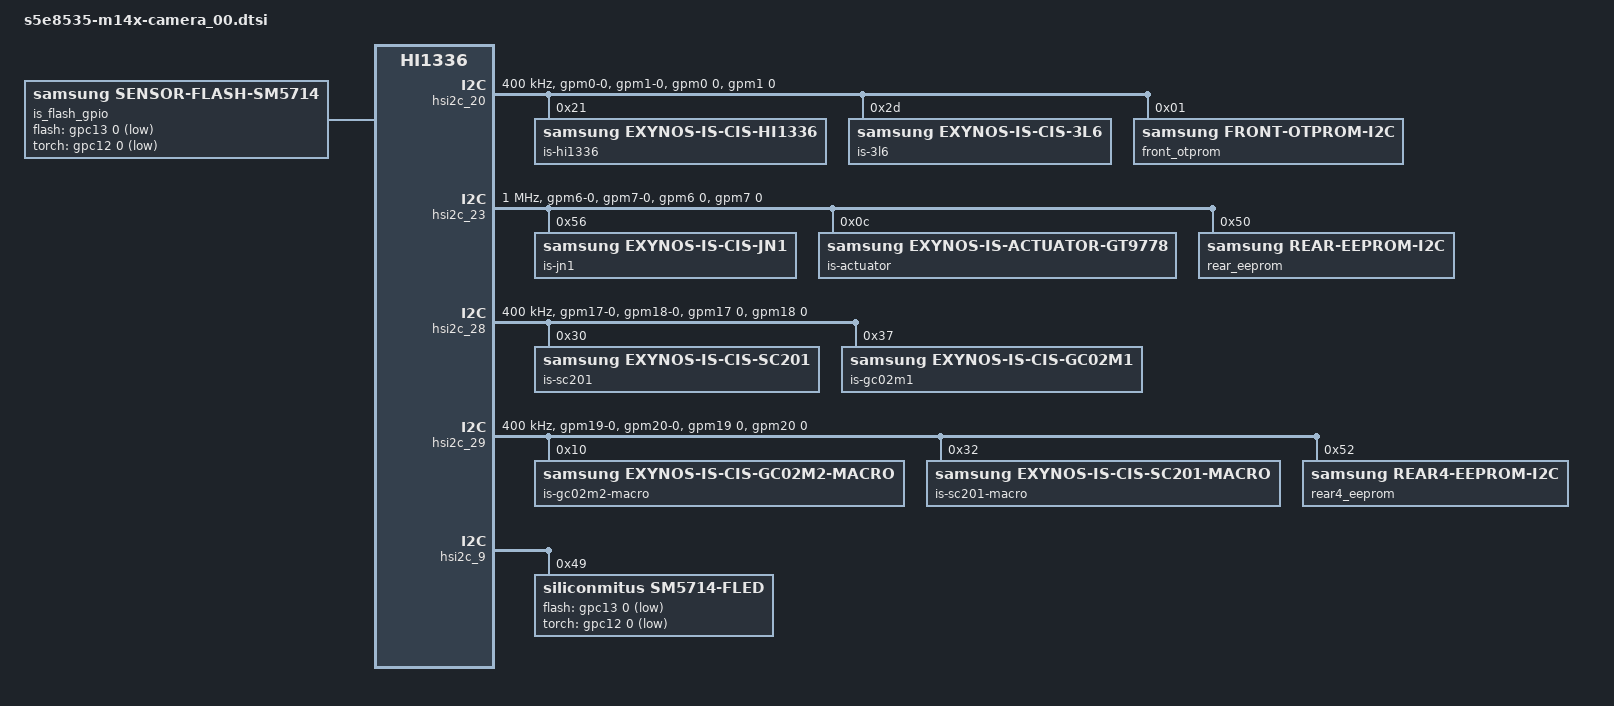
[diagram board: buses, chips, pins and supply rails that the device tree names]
/*
 * Samsung Exynos SoC series Pablo driver
 *
 * Copyright (c) 2022 Samsung Electronics Co., Ltd
 *
 * This program is free software; you can redistribute it and/or modify
 * it under the terms of the GNU General Public License version 2 as
 * published by the Free Software Foundation.
 */

#include <dt-bindings/camera/exynos_is_dt.h>

#include "module_jn1.dtsi"
#include "module_hi1336.dtsi"
#include "module_3l6.dtsi"
#include "module_sc201.dtsi"
#include "module_gc02m1.dtsi"
#include "module_gc02m2.dtsi"

/ {
	fragment@camera {
		target-path = "/";
		__overlay__ {
			#address-cells = <2>;
			#size-cells = <1>;
			interrupt-parent = <&gic>;

			is_sensor_jn1: is_sensor_jn1@2D {

				flash {
					product_name = <20>; /* SM5714 */
				};

				power_seq {
					scenario_normal_on {
						20 { pname = "CAM_VDDIO_1P8_EN"; pin = <PIN_OUTPUT 1 1000>; gpio = <&gpp0 7 0x1>; share = <SRT_ACQUIRE SHARED_PIN1 1>; };
						30 { pname = "vdd_ldo31"; pin = <PIN_REGULATOR 1 500 1050000>; share = <SRT_ACQUIRE SHARED_PIN8 1>; }; 
						45 { pname = "COMMON_AVDD_2P8"; pin = <PIN_OUTPUT 1 1000>; gpio = <&gpp1 2 0x1>; share = <SRT_ACQUIRE SHARED_PIN3 1>; };
					};

					scenario_normal_off {
						80 { pname = "COMMON_AVDD_2P8"; pin = <PIN_OUTPUT 0 1000>; gpio = <&gpp1 2 0x1>; share = <SRT_RELEASE SHARED_PIN3 0>; };
						90 { pname = "vdd_ldo31"; pin = <PIN_REGULATOR 0 0>; share = <SRT_RELEASE SHARED_PIN8 0>; };
						100 { pname = "CAM_VDDIO_1P8_EN"; pin = <PIN_OUTPUT 0 1000>; gpio = <&gpp0 7 0x1>; share = <SRT_RELEASE SHARED_PIN1 0>; };
					};

					scenario_vision_on {
						20 { pname = "CAM_VDDIO_1P8_EN"; pin = <PIN_OUTPUT 1 1000>; gpio = <&gpp0 7 0x1>; share = <SRT_ACQUIRE SHARED_PIN1 1>; };
						30 { pname = "vdd_ldo31"; pin = <PIN_REGULATOR 1 500 1050000>; share = <SRT_ACQUIRE SHARED_PIN8 1>; }; 
						45 { pname = "COMMON_AVDD_2P8"; pin = <PIN_OUTPUT 1 1000>; gpio = <&gpp1 2 0x1>; share = <SRT_ACQUIRE SHARED_PIN3 1>; };
					};

					scenario_vision_off {
						80 { pname = "COMMON_AVDD_2P8"; pin = <PIN_OUTPUT 0 1000>; gpio = <&gpp1 2 0x1>; share = <SRT_RELEASE SHARED_PIN3 0>; };
						90 { pname = "vdd_ldo31"; pin = <PIN_REGULATOR 0 0>; share = <SRT_RELEASE SHARED_PIN8 0>; };
						100 { pname = "CAM_VDDIO_1P8_EN"; pin = <PIN_OUTPUT 0 1000>; gpio = <&gpp0 7 0x1>; share = <SRT_RELEASE SHARED_PIN1 0>; };
					};

					scenario_read_rom_on {
						10 { pname = "CAM_VDDIO_1P8_EN"; pin = <PIN_OUTPUT 1 1000>; gpio = <&gpp0 7 0x1>; share = <SRT_ACQUIRE SHARED_PIN1 1>; };
					};

					scenario_read_rom_off {
						30 { pname = "CAM_VDDIO_1P8_EN"; pin = <PIN_OUTPUT 0 1000>; gpio = <&gpp0 7 0x1>; share = <SRT_RELEASE SHARED_PIN1 0>; };
					};
				};
			};

			/* Front */
			is_sensor_hi1336: is_sensor_hi1336@42 {
				power_seq {
					scenario_normal_on {
						20 { pname = "CAM_VDDIO_1P8_EN"; pin = <PIN_OUTPUT 1 1000>; gpio = <&gpp0 7 0x1>; share = <SRT_ACQUIRE SHARED_PIN1 1>; };
						25 { pname = "vdd_ldo31"; pin = <PIN_REGULATOR 1 500 1050000>; share = <SRT_ACQUIRE SHARED_PIN8 1>; }; 
						40 { pname = "COMMON_AVDD_2P8"; pin = <PIN_OUTPUT 1 100>; gpio = <&gpp1 2 0x1>; share = <SRT_ACQUIRE SHARED_PIN3 1>; };
					};

					scenario_normal_off {
						70 { pname = "COMMON_AVDD_2P8"; pin = <PIN_OUTPUT 0 100>; gpio = <&gpp1 2 0x1>; share = <SRT_RELEASE SHARED_PIN3 0>; };
						85 { pname = "vdd_ldo31"; pin = <PIN_REGULATOR 0 0>; share = <SRT_RELEASE SHARED_PIN8 0>; };
						90 { pname = "CAM_VDDIO_1P8_EN"; pin = <PIN_OUTPUT 0 1000>; gpio = <&gpp0 7 0x1>; share = <SRT_RELEASE SHARED_PIN1 0>; };
					};

					scenario_vision_on {
						20 { pname = "CAM_VDDIO_1P8_EN"; pin = <PIN_OUTPUT 1 1000>; gpio = <&gpp0 7 0x1>; share = <SRT_ACQUIRE SHARED_PIN1 1>; };
						25 { pname = "vdd_ldo31"; pin = <PIN_REGULATOR 1 500 1050000>; share = <SRT_ACQUIRE SHARED_PIN8 1>; }; 
						40 { pname = "COMMON_AVDD_2P8"; pin = <PIN_OUTPUT 1 100>; gpio = <&gpp1 2 0x1>; share = <SRT_ACQUIRE SHARED_PIN3 1>; };
					};

					scenario_vision_off {
						70 { pname = "COMMON_AVDD_2P8"; pin = <PIN_OUTPUT 0 100>; gpio = <&gpp1 2 0x1>; share = <SRT_RELEASE SHARED_PIN3 0>; };
						85 { pname = "vdd_ldo31"; pin = <PIN_REGULATOR 0 0>; share = <SRT_RELEASE SHARED_PIN8 0>; };
						90 { pname = "CAM_VDDIO_1P8_EN"; pin = <PIN_OUTPUT 0 1000>; gpio = <&gpp0 7 0x1>; share = <SRT_RELEASE SHARED_PIN1 0>; };
					};

					scenario_read_rom_on {
						20 { pname = "CAM_VDDIO_1P8_EN"; pin = <PIN_OUTPUT 1 1000>; gpio = <&gpp0 7 0x1>; share = <SRT_ACQUIRE SHARED_PIN1 1>; };
						25 { pname = "vdd_ldo31"; pin = <PIN_REGULATOR 1 500 1050000>; share = <SRT_ACQUIRE SHARED_PIN8 1>; }; 
						40 { pname = "COMMON_AVDD_2P8"; pin = <PIN_OUTPUT 1 100>; gpio = <&gpp1 2 0x1>; share = <SRT_ACQUIRE SHARED_PIN3 1>; };
					};

					scenario_read_rom_off {
						70 { pname = "COMMON_AVDD_2P8"; pin = <PIN_OUTPUT 0 100>; gpio = <&gpp1 2 0x1>; share = <SRT_RELEASE SHARED_PIN3 0>; };
						85 { pname = "vdd_ldo31"; pin = <PIN_REGULATOR 0 0>; share = <SRT_RELEASE SHARED_PIN8 0>; };
						90 { pname = "CAM_VDDIO_1P8_EN"; pin = <PIN_OUTPUT 0 1000>; gpio = <&gpp0 7 0x1>; share = <SRT_RELEASE SHARED_PIN1 0>; };
					};
				};
			};

			/* Front Dualized */
			is_sensor_3l6: is_sensor_3l6@5A {
				power_seq {
					scenario_normal_on {
						20 { pname = "CAM_VDDIO_1P8_EN"; pin = <PIN_OUTPUT 1 1000>; gpio = <&gpp0 7 0x1>; share = <SRT_ACQUIRE SHARED_PIN1 1>; };
						25 { pname = "vdd_ldo31"; pin = <PIN_REGULATOR 1 500 1050000>; share = <SRT_ACQUIRE SHARED_PIN8 1>; }; 
						40 { pname = "COMMON_AVDD_2P8"; pin = <PIN_OUTPUT 1 1000>; gpio = <&gpp1 2 0x1>; share = <SRT_ACQUIRE SHARED_PIN3 1>; };
					};

					scenario_normal_off {
						30 { pname = "COMMON_AVDD_2P8"; pin = <PIN_OUTPUT 0 1000>; gpio = <&gpp1 2 0x1>; share = <SRT_RELEASE SHARED_PIN3 0>; };
						45 { pname = "vdd_ldo31"; pin = <PIN_REGULATOR 0 0>; share = <SRT_RELEASE SHARED_PIN8 0>; };
						50 { pname = "CAM_VDDIO_1P8_EN"; pin = <PIN_OUTPUT 0 1000>; gpio = <&gpp0 7 0x1>; share = <SRT_RELEASE SHARED_PIN1 0>; };
					};

					scenario_vision_on {
						20 { pname = "CAM_VDDIO_1P8_EN"; pin = <PIN_OUTPUT 1 1000>; gpio = <&gpp0 7 0x1>; share = <SRT_ACQUIRE SHARED_PIN1 1>; };
						25 { pname = "vdd_ldo31"; pin = <PIN_REGULATOR 1 500 1050000>; share = <SRT_ACQUIRE SHARED_PIN8 1>; }; 
						40 { pname = "COMMON_AVDD_2P8"; pin = <PIN_OUTPUT 1 1000>; gpio = <&gpp1 2 0x1>; share = <SRT_ACQUIRE SHARED_PIN3 1>; };
					};

					scenario_vision_off {
						30 { pname = "COMMON_AVDD_2P8"; pin = <PIN_OUTPUT 0 1000>; gpio = <&gpp1 2 0x1>; share = <SRT_RELEASE SHARED_PIN3 0>; };
						45 { pname = "vdd_ldo31"; pin = <PIN_REGULATOR 0 0>; share = <SRT_RELEASE SHARED_PIN8 0>; };
						50 { pname = "CAM_VDDIO_1P8_EN"; pin = <PIN_OUTPUT 0 1000>; gpio = <&gpp0 7 0x1>; share = <SRT_RELEASE SHARED_PIN1 0>; };
					};

					scenario_read_rom_on {
						20 { pname = "CAM_VDDIO_1P8_EN"; pin = <PIN_OUTPUT 1 1000>; gpio = <&gpp0 7 0x1>; share = <SRT_ACQUIRE SHARED_PIN1 1>; };
						25 { pname = "vdd_ldo31"; pin = <PIN_REGULATOR 1 500 1050000>; share = <SRT_ACQUIRE SHARED_PIN8 1>; }; 
						40 { pname = "COMMON_AVDD_2P8"; pin = <PIN_OUTPUT 1 1000>; gpio = <&gpp1 2 0x1>; share = <SRT_ACQUIRE SHARED_PIN3 1>; };
					};

					scenario_read_rom_off {
						30 { pname = "COMMON_AVDD_2P8"; pin = <PIN_OUTPUT 0 1000>; gpio = <&gpp1 2 0x1>; share = <SRT_RELEASE SHARED_PIN3 0>; };
						45 { pname = "vdd_ldo31"; pin = <PIN_REGULATOR 0 0>; share = <SRT_RELEASE SHARED_PIN8 0>; };
						50 { pname = "CAM_VDDIO_1P8_EN"; pin = <PIN_OUTPUT 0 1000>; gpio = <&gpp0 7 0x1>; share = <SRT_RELEASE SHARED_PIN1 0>; };
					};
				};
			};

			/* Bokeh */
			is_sensor_sc201: is_sensor_sc201@60 {
				power_seq {
					scenario_normal_on {
						20 { pname = "CAM_VDDIO_1P8_EN"; pin = <PIN_OUTPUT 1 2000>; gpio = <&gpp0 7 0x1>; share = <SRT_ACQUIRE SHARED_PIN1 1>; };
						25 { pname = "vdd_ldo31"; pin = <PIN_REGULATOR 1 500 1050000>; share = <SRT_ACQUIRE SHARED_PIN8 1>; }; 
						30 { pname = "COMMON_AVDD_2P8"; pin = <PIN_OUTPUT 1 1000>; gpio = <&gpp1 2 0x1>; share = <SRT_ACQUIRE SHARED_PIN3 1>; };
						60 { pname = "MCLK"; pin = <PIN_MCLK 1 12000>; gpio = <&gpg0 3 0x1>; share = <SRT_ACQUIRE SHARED_PIN2 1>; };
					};

					scenario_normal_off {
						20 { pname = "MCLK"; pin = <PIN_MCLK 0 0>; gpio = <&gpg0 3 0x1>; share = <SRT_RELEASE SHARED_PIN2 0>; };
						40 { pname = "COMMON_AVDD_2P8"; pin = <PIN_OUTPUT 0 1000>; gpio = <&gpp1 2 0x1>; share = <SRT_RELEASE SHARED_PIN3 0>; };
						45 { pname = "vdd_ldo31"; pin = <PIN_REGULATOR 0 0>; share = <SRT_RELEASE SHARED_PIN8 0>; };
						50 { pname = "CAM_VDDIO_1P8_EN"; pin = <PIN_OUTPUT 0 0>; gpio = <&gpp0 7 0x1>; share = <SRT_RELEASE SHARED_PIN1 0>; };
					};

					scenario_vision_on {
						20 { pname = "CAM_VDDIO_1P8_EN"; pin = <PIN_OUTPUT 1 2000>; gpio = <&gpp0 7 0x1>; share = <SRT_ACQUIRE SHARED_PIN1 1>; };
						25 { pname = "vdd_ldo31"; pin = <PIN_REGULATOR 1 500 1050000>; share = <SRT_ACQUIRE SHARED_PIN8 1>; }; 
						30 { pname = "COMMON_AVDD_2P8"; pin = <PIN_OUTPUT 1 1000>; gpio = <&gpp1 2 0x1>; share = <SRT_ACQUIRE SHARED_PIN3 1>; };
						60 { pname = "MCLK"; pin = <PIN_MCLK 1 12000>; gpio = <&gpg0 3 0x1>; share = <SRT_ACQUIRE SHARED_PIN2 1>; };
					};

					scenario_vision_off {
						20 { pname = "MCLK"; pin = <PIN_MCLK 0 0>; gpio = <&gpg0 3 0x1>; share = <SRT_RELEASE SHARED_PIN2 0>; };
						40 { pname = "COMMON_AVDD_2P8"; pin = <PIN_OUTPUT 0 1000>; gpio = <&gpp1 2 0x1>; share = <SRT_RELEASE SHARED_PIN3 0>; };
						45 { pname = "vdd_ldo31"; pin = <PIN_REGULATOR 0 0>; share = <SRT_RELEASE SHARED_PIN8 0>; };
						50 { pname = "CAM_VDDIO_1P8_EN"; pin = <PIN_OUTPUT 0 0>; gpio = <&gpp0 7 0x1>; share = <SRT_RELEASE SHARED_PIN1 0>; };
					};
				};
			};

			/* Bokeh Dualized */
			is_sensor_gc02m1: is_sensor_gc02m1@6E {
				power_seq {
					scenario_normal_on {
						20 { pname = "CAM_VDDIO_1P8_EN"; pin = <PIN_OUTPUT 1 0>; gpio = <&gpp0 7 0x1>; share = <SRT_ACQUIRE SHARED_PIN1 1>; };
						25 { pname = "vdd_ldo31"; pin = <PIN_REGULATOR 1 500 1050000>; share = <SRT_ACQUIRE SHARED_PIN8 1>; }; 
						30 { pname = "COMMON_AVDD_2P8"; pin = <PIN_OUTPUT 1 2000>; gpio = <&gpp1 2 0x1>; share = <SRT_ACQUIRE SHARED_PIN3 1>; };
						60 { pname = "MCLK"; pin = <PIN_MCLK 1 12000>; gpio = <&gpg0 3 0x1>; share = <SRT_ACQUIRE SHARED_PIN2 1>; };
					};

					scenario_normal_off {
						20 { pname = "MCLK"; pin = <PIN_MCLK 0 0>; gpio = <&gpg0 3 0x1>; share = <SRT_RELEASE SHARED_PIN2 0>; };
						40 { pname = "COMMON_AVDD_2P8"; pin = <PIN_OUTPUT 0 2000>; gpio = <&gpp1 2 0x1>; share = <SRT_RELEASE SHARED_PIN3 0>; };
						45 { pname = "vdd_ldo31"; pin = <PIN_REGULATOR 0 0>; share = <SRT_RELEASE SHARED_PIN8 0>; };
						50 { pname = "CAM_VDDIO_1P8_EN"; pin = <PIN_OUTPUT 0 0>; gpio = <&gpp0 7 0x1>; share = <SRT_RELEASE SHARED_PIN1 0>; };
					};

					scenario_vision_on {
						20 { pname = "CAM_VDDIO_1P8_EN"; pin = <PIN_OUTPUT 1 0>; gpio = <&gpp0 7 0x1>; share = <SRT_ACQUIRE SHARED_PIN1 1>; };
						25 { pname = "vdd_ldo31"; pin = <PIN_REGULATOR 1 500 1050000>; share = <SRT_ACQUIRE SHARED_PIN8 1>; }; 
						30 { pname = "COMMON_AVDD_2P8"; pin = <PIN_OUTPUT 1 2000>; gpio = <&gpp1 2 0x1>; share = <SRT_ACQUIRE SHARED_PIN3 1>; };
						60 { pname = "MCLK"; pin = <PIN_MCLK 1 12000>; gpio = <&gpg0 3 0x1>; share = <SRT_ACQUIRE SHARED_PIN2 1>; };
					};

					scenario_vision_off {
						20 { pname = "MCLK"; pin = <PIN_MCLK 0 0>; gpio = <&gpg0 3 0x1>; share = <SRT_RELEASE SHARED_PIN2 0>; };
						40 { pname = "COMMON_AVDD_2P8"; pin = <PIN_OUTPUT 0 2000>; gpio = <&gpp1 2 0x1>; share = <SRT_RELEASE SHARED_PIN3 0>; };
						45 { pname = "vdd_ldo31"; pin = <PIN_REGULATOR 0 0>; share = <SRT_RELEASE SHARED_PIN8 0>; };
						50 { pname = "CAM_VDDIO_1P8_EN"; pin = <PIN_OUTPUT 0 0>; gpio = <&gpp0 7 0x1>; share = <SRT_RELEASE SHARED_PIN1 0>; };
					};
				};
			};

			/* Macro */
			is_sensor_gc02m2_macro: is_sensor_gc02m2_macro@20 {

				flash {
					product_name = <20>; /* SM5714 */
				};

				power_seq {
					scenario_normal_on {
						20 { pname = "CAM_VDDIO_1P8_EN"; pin = <PIN_OUTPUT 1 2000>; gpio = <&gpp0 7 0x1>; share = <SRT_ACQUIRE SHARED_PIN1 1>; };
						25 { pname = "vdd_ldo31"; pin = <PIN_REGULATOR 1 500 1050000>; share = <SRT_ACQUIRE SHARED_PIN8 1>; }; 
						30 { pname = "COMMON_AVDD_2P8"; pin = <PIN_OUTPUT 1 1000>; gpio = <&gpp1 2 0x1>; share = <SRT_ACQUIRE SHARED_PIN3 1>; };
						60 { pname = "MCLK"; pin = <PIN_MCLK 1 12000>; gpio = <&gpg0 3 0x1>; share = <SRT_ACQUIRE SHARED_PIN2 1>; };
					};

					scenario_normal_off {
						20 { pname = "MCLK"; pin = <PIN_MCLK 0 0>; gpio = <&gpg0 3 0x1>; share = <SRT_RELEASE SHARED_PIN2 0>; };
						40 { pname = "COMMON_AVDD_2P8"; pin = <PIN_OUTPUT 0 1000>; gpio = <&gpp1 2 0x1>; share = <SRT_RELEASE SHARED_PIN3 0>; };
						45 { pname = "vdd_ldo31"; pin = <PIN_REGULATOR 0 0>; share = <SRT_RELEASE SHARED_PIN8 0>; };
						50 { pname = "CAM_VDDIO_1P8_EN"; pin = <PIN_OUTPUT 0 0>; gpio = <&gpp0 7 0x1>; share = <SRT_RELEASE SHARED_PIN1 0>; };
					};

					scenario_vision_on {
						20 { pname = "CAM_VDDIO_1P8_EN"; pin = <PIN_OUTPUT 1 2000>; gpio = <&gpp0 7 0x1>; share = <SRT_ACQUIRE SHARED_PIN1 1>; };
						25 { pname = "vdd_ldo31"; pin = <PIN_REGULATOR 1 500 1050000>; share = <SRT_ACQUIRE SHARED_PIN8 1>; }; 
						30 { pname = "COMMON_AVDD_2P8"; pin = <PIN_OUTPUT 1 1000>; gpio = <&gpp1 2 0x1>; share = <SRT_ACQUIRE SHARED_PIN3 1>; };
						60 { pname = "MCLK"; pin = <PIN_MCLK 1 12000>; gpio = <&gpg0 3 0x1>; share = <SRT_ACQUIRE SHARED_PIN2 1>; };
					};

					scenario_vision_off {
						20 { pname = "MCLK"; pin = <PIN_MCLK 0 0>; gpio = <&gpg0 3 0x1>; share = <SRT_RELEASE SHARED_PIN2 0>; };
						40 { pname = "COMMON_AVDD_2P8"; pin = <PIN_OUTPUT 0 1000>; gpio = <&gpp1 2 0x1>; share = <SRT_RELEASE SHARED_PIN3 0>; };
						45 { pname = "vdd_ldo31"; pin = <PIN_REGULATOR 0 0>; share = <SRT_RELEASE SHARED_PIN8 0>; };
						50 { pname = "CAM_VDDIO_1P8_EN"; pin = <PIN_OUTPUT 0 0>; gpio = <&gpp0 7 0x1>; share = <SRT_RELEASE SHARED_PIN1 0>; };
					};

					scenario_read_rom_on {
						10 { pname = "CAM_VDDIO_1P8_EN"; pin = <PIN_OUTPUT 1 6000>; gpio = <&gpp0 7 0x1>; share = <SRT_ACQUIRE SHARED_PIN1 1>; };
					};

					scenario_read_rom_off {
						20 { pname = "CAM_VDDIO_1P8_EN"; pin = <PIN_OUTPUT 0 0>; gpio = <&gpp0 7 0x1>; share = <SRT_RELEASE SHARED_PIN1 0>; };
					};
				};
			};

			/* Macro Dualized */
			is_sensor_sc201_macro: is_sensor_sc201_macro@64 {

				flash {
					product_name = <20>; /* SM5714 */
				};

				power_seq {
					scenario_normal_on {
						20 { pname = "CAM_VDDIO_1P8_EN"; pin = <PIN_OUTPUT 1 2000>; gpio = <&gpp0 7 0x1>; share = <SRT_ACQUIRE SHARED_PIN1 1>; };
						25 { pname = "vdd_ldo31"; pin = <PIN_REGULATOR 1 500 1050000>; share = <SRT_ACQUIRE SHARED_PIN8 1>; }; 
						30 { pname = "COMMON_AVDD_2P8"; pin = <PIN_OUTPUT 1 1000>; gpio = <&gpp1 2 0x1>; share = <SRT_ACQUIRE SHARED_PIN3 1>; };
						60 { pname = "MCLK"; pin = <PIN_MCLK 1 12000>; gpio = <&gpg0 3 0x1>; share = <SRT_ACQUIRE SHARED_PIN2 1>; };
					};

					scenario_normal_off {
						20 { pname = "MCLK"; pin = <PIN_MCLK 0 0>; gpio = <&gpg0 3 0x1>; share = <SRT_RELEASE SHARED_PIN2 0>; };
						40 { pname = "COMMON_AVDD_2P8"; pin = <PIN_OUTPUT 0 1000>; gpio = <&gpp1 2 0x1>; share = <SRT_RELEASE SHARED_PIN3 0>; };
						45 { pname = "vdd_ldo31"; pin = <PIN_REGULATOR 0 0>; share = <SRT_RELEASE SHARED_PIN8 0>; };
						50 { pname = "CAM_VDDIO_1P8_EN"; pin = <PIN_OUTPUT 0 0>; gpio = <&gpp0 7 0x1>; share = <SRT_RELEASE SHARED_PIN1 0>; };
					};

					scenario_vision_on {
						20 { pname = "CAM_VDDIO_1P8_EN"; pin = <PIN_OUTPUT 1 2000>; gpio = <&gpp0 7 0x1>; share = <SRT_ACQUIRE SHARED_PIN1 1>; };
						25 { pname = "vdd_ldo31"; pin = <PIN_REGULATOR 1 500 1050000>; share = <SRT_ACQUIRE SHARED_PIN8 1>; }; 
						30 { pname = "COMMON_AVDD_2P8"; pin = <PIN_OUTPUT 1 1000>; gpio = <&gpp1 2 0x1>; share = <SRT_ACQUIRE SHARED_PIN3 1>; };
						60 { pname = "MCLK"; pin = <PIN_MCLK 1 12000>; gpio = <&gpg0 3 0x1>; share = <SRT_ACQUIRE SHARED_PIN2 1>; };
					};

					scenario_vision_off {
						20 { pname = "MCLK"; pin = <PIN_MCLK 0 0>; gpio = <&gpg0 3 0x1>; share = <SRT_RELEASE SHARED_PIN2 0>; };
						40 { pname = "COMMON_AVDD_2P8"; pin = <PIN_OUTPUT 0 1000>; gpio = <&gpp1 2 0x1>; share = <SRT_RELEASE SHARED_PIN3 0>; };
						45 { pname = "vdd_ldo31"; pin = <PIN_REGULATOR 0 0>; share = <SRT_RELEASE SHARED_PIN8 0>; };
						50 { pname = "CAM_VDDIO_1P8_EN"; pin = <PIN_OUTPUT 0 0>; gpio = <&gpp0 7 0x1>; share = <SRT_RELEASE SHARED_PIN1 0>; };
					};

					scenario_read_rom_on {
						10 { pname = "CAM_VDDIO_1P8_EN"; pin = <PIN_OUTPUT 1 6000>; gpio = <&gpp0 7 0x1>; share = <SRT_ACQUIRE SHARED_PIN1 1>; };
					};

					scenario_read_rom_off {
						20 { pname = "CAM_VDDIO_1P8_EN"; pin = <PIN_OUTPUT 0 0>; gpio = <&gpp0 7 0x1>; share = <SRT_RELEASE SHARED_PIN1 0>; };
					};
				};
			};

			/* FRONT CAMERA */
			is_sensor0: is_sensor0@15030000 {
				#address-cells = <1>;
				#size-cells = <1>;
				scenario = <SENSOR_SCENARIO_NORMAL>;	/* Normal, Vision, OIS etc */
				id = <1>;
				csi_ch = <0>;
				status = "okay";
				use_cphy = <0>;

				interrupts = <0 INTREQ__CSIS0 IRQ_TYPE_LEVEL_HIGH>; /*MIPI-CSI0 */
				interrupt-names = "csi";
				phys = <&mipi_phy_csis0_m0s4s4s4_s22 0>;
				phy_setfile = <&dcphy_setfile_dphy>;
				phy_tune_default_mode = "4128 3096 30";
			};

			/* REAR CAMERA */
			is_sensor1: is_sensor1@15040000 {
				#address-cells = <1>;
				#size-cells = <1>;
				scenario = <SENSOR_SCENARIO_NORMAL>;    /* Normal, Vision, OIS etc */

				id = <0>;
				csi_ch = <1>;
				status = "okay";
				use_cphy = <0>;

				interrupts = <0 INTREQ__CSIS1 IRQ_TYPE_LEVEL_HIGH>; /* MIPI-CSI1 */
				interrupt-names = "csi";
				phys = <&mipi_phy_csis1_m0s4s4s4_s22 0>;
				phy_setfile = <&dcphy_setfile_dphy>;
				phy_tune_default_mode = "4080 3060 30";
			};

			/* MACRO CAMERA */
			is_sensor2: is_sensor2@15050000 {
				#address-cells = <1>;
				#size-cells = <1>;

				scenario = <SENSOR_SCENARIO_NORMAL>;    /* Normal, Vision, OIS etc */

				id = <3>;
				csi_ch = <2>;
				status = "okay";
				use_cphy = <0>;

				interrupts = <0 INTREQ__CSIS2 IRQ_TYPE_LEVEL_HIGH>; /* MIPI-CSI2 */
				interrupt-names = "csi";
				phys = <&mipi_phy_csis2_m0s4s4s4_s22 0>;
				phy_setfile = <&dphy_setfile>;
				phy_tune_default_mode = "1600 1200 30";
			};

			/* BOKEH CAMERA : 2+2 lane */
			is_sensor3: is_sensor3@15060000 {
				#address-cells = <1>;
				#size-cells = <1>;
				reg = <0x0 0x15060000 0x1000>, /* MIPI-CSI3 */
					<0x0 0x150F0000 0x10000>; /* PHY: M0S4S4S4S4S2S1 */
				scenario = <SENSOR_SCENARIO_NORMAL>;    /* Normal, Vision, OIS etc */
				id = <2>;
				csi_ch = <3>;
				status = "okay";
				use_cphy = <0>;

				interrupts = <0 INTREQ__CSIS3 IRQ_TYPE_LEVEL_HIGH>; /* MIPI-CSI3 */
				phys = <&mipi_phy_csis3_m0s4s4s4_s22 0>;
				phy_setfile = <&dphy_setfile_2lane>;
				phy_tune_default_mode = "800 600 30";
			};

			is_flash_gpio: is-flash-gpio@0 {
				compatible = "samsung,sensor-flash-sm5714";
				sensor-module = <&is_sensor_jn1>,<&is_sensor_gc02m2_macro>;
				id = <0 3>;
				led_ch = <1>;
				status = "okay";
				flash-gpio = <&gpc13 0 0x1>;
				torch-gpio = <&gpc12 0 0x1>;
			};
		}; /* end of __overlay__ */
	}; /* end of fragment */
}; /* end of root */

/***** reference symbol node *****/
/* GPIO_PERI */
&pinctrl_1 {

	/* FRONT I2C */
	hsi2c20_bus: hsi2c20-bus {
		samsung,pins = "gpm0-0", "gpm1-0";
		samsung,pin-function = <2>; /* 0: Input, 1: Output, 2: Func */
		samsung,pin-pud = <0>;      /* 0: NP, 1: PD, 2: Reserved, 3: PU */
		samsung,pin-drv = <0>;      /* 0: x1, 1: x2, 2: x3, 3: x4 */
	};

	hsi2c20_bus_in: hsi2c20-bus-in {
		samsung,pins = "gpm0-0", "gpm1-0";
		samsung,pin-function = <0>; /* 0: Input, 1: Output, 2: Func */
		samsung,pin-pud = <0>;      /* 0: NP, 1: PD, 2: Reserved, 3: PU */
		samsung,pin-drv = <0>;      /* 0: x1, 1: x2, 2: x3, 3: x4 */
		//samsung,pin-con-pdn = <2>;  /* 0: Output0, 1: Output1, 2: Input, 3:Prev */
		//samsung,pin-pud-pdn = <1>;  /* 0: NP, 1: PD, 2: Reserved, 3: PU */
	};

	/* REAR WIDE I2C */
	hsi2c23_bus: hsi2c23-bus {
		samsung,pins = "gpm6-0", "gpm7-0";
		samsung,pin-function = <3>; /* 0: Input, 1: Output, 2: Func */
		samsung,pin-pud = <0>;      /* 0: NP, 1: PD, 2: Reserved, 3: PU */
		samsung,pin-drv = <0>;      /* 0: x1, 1: x2, 2: x3, 3: x4 */
	};

	hsi2c23_bus_in: hsi2c23-bus-in {
		samsung,pins = "gpm6-0", "gpm7-0";
		samsung,pin-function = <0>; /* 0: Input, 1: Output, 2: Func */
		samsung,pin-pud = <0>;      /* 0: NP, 1: PD, 2: Reserved, 3: PU */
		samsung,pin-drv = <0>;      /* 0: x1, 1: x2, 2: x3, 3: x4 */
		//samsung,pin-con-pdn = <2>;  /* 0: Output0, 1: Output1, 2: Input, 3:Prev */
		//samsung,pin-pud-pdn = <1>;  /* 0: NP, 1: PD, 2: Reserved, 3: PU */
	};

	/* RCAM2 I2C */
	hsi2c28_bus: hsi2c28-bus {
		samsung,pins = "gpm17-0", "gpm18-0";
		samsung,pin-function = <2>; /* 0: Input, 1: Output, 2: Func */
		samsung,pin-pud = <0>;      /* 0: NP, 1: PD, 2: Reserved, 3: PU */
		samsung,pin-drv = <0>;      /* 0: x1, 1: x2, 2: x3, 3: x4 */
	};

	hsi2c28_bus_in: hsi2c28-bus-in {
		samsung,pins = "gpm17-0", "gpm18-0";
		samsung,pin-function = <0>; /* 0: Input, 1: Output, 2: Func */
		samsung,pin-pud = <0>;      /* 0: NP, 1: PD, 2: Reserved, 3: PU */
		samsung,pin-drv = <0>;      /* 0: x1, 1: x2, 2: x3, 3: x4 */
		//samsung,pin-con-pdn = <2>;  /* 0: Output0, 1: Output1, 2: Input, 3:Prev */
		//samsung,pin-pud-pdn = <1>;  /* 0: NP, 1: PD, 2: Reserved, 3: PU */
	};


	/* RCAM3 I2C */
	hsi2c29_bus: hsi2c29-bus {
		samsung,pins = "gpm19-0", "gpm20-0";
		samsung,pin-function = <3>; /* 0: Input, 1: Output, 2: Func */
		samsung,pin-pud = <0>;      /* 0: NP, 1: PD, 2: Reserved, 3: PU */
		samsung,pin-drv = <0>;      /* 0: x1, 1: x2, 2: x3, 3: x4 */
	};

	hsi2c29_bus_in: hsi2c29-bus-in {
		samsung,pins = "gpm19-0", "gpm20-0";
		samsung,pin-function = <0>; /* 0: Input, 1: Output, 2: Func */
		samsung,pin-pud = <0>;      /* 0: NP, 1: PD, 2: Reserved, 3: PU */
		samsung,pin-drv = <0>;      /* 0: x1, 1: x2, 2: x3, 3: x4 */
		//samsung,pin-con-pdn = <2>;  /* 0: Output0, 1: Output1, 2: Input, 3:Prev */
		//samsung,pin-pud-pdn = <1>;  /* 0: NP, 1: PD, 2: Reserved, 3: PU */
	};
};

&hsi2c_20 {
	#address-cells = <1>;
	#size-cells = <0>;
	gpios = <&gpm0 0 0 &gpm1 0 0>;
	status = "okay";
	clock-frequency = <400000>;
	samsung,reset-before-trans;

	pinctrl-names = "default","on_i2c","off_i2c";
	pinctrl-0 = <&hsi2c20_bus_in>;
	pinctrl-1 = <&hsi2c20_bus>;
	pinctrl-2 = <&hsi2c20_bus_in>;

	is-hi1336@42 {
		compatible = "samsung,exynos-is-cis-hi1336";
		sensor-module = <&is_sensor_hi1336>;
		reg = <0x21>; /* 1 bit right shift */
		id = <1>; /* matching is_sensor id */
		use_initial_ae; /* for initial AE of face unlock */
		setfile = "setA";
		rev_reg = <0x0716 2>;
		sensor_f_number = <200>;	/* f number 2.0 */
	};
	is-3l6@5A {
		compatible = "samsung,exynos-is-cis-3l6";
		sensor-module = <&is_sensor_3l6>;
		reg = <0x2D>; /* 1 bit right shift */
		id = <1>; /* matching is_sensor id */
		use_initial_ae; /* for initial AE of face unlock */
		setfile = "setB";
		rev_reg = <0x0002 1>;
		sensor_f_number = <200>;	/* f number 2.0 */
	};
	front_otprom@42 { /* Front otprom */
		compatible = "samsung,front-otprom-i2c";
		reg = <0x01>;

		rom_power_position = <1>;
		rom_size = <0x1C84>;
		cal_map_es_version = <1>;
		camera_module_es_version = "A";
		/* skip_cal_loading; */

		/* 20220711_A14_5G_CAM1(Front_13M_Hi1336)_OTP_Front_Cal map V008.002_QC_LSI_MTK_Map.xlsx */
		/* 0 header */
		header_crc_check_list	= <0x0000 0x0051 0x0052>;
		/* 0 module */
		crc_check_list	= <0x0056 0x0177 0x0178>;
		/* Master */
		rom_header_version_start_addr	= <0x000A>;
		rom_header_cal_data_start_addr	= <0x0064>;
		rom_header_cal_map_ver_start_addr	= <0x0016>;
		rom_header_project_name_start_addr	= <0x1E>;
		rom_header_module_id_addr	= <0x0036>; /* 0x30 + reserved bytes */
		rom_header_sensor_id_addr	= <0x0040>;
		rom_awb_master_addr	= <0x0064>;

		/* standard cal */
		use_standard_cal;
		rom_standard_cal_start_addr	= <0x0064>;
		rom_standard_cal_end_addr	= <0x017B>;
		rom_standard_cal_sec2lsi_end_addr	= <0x017B>;
		rom_awb_start_addr	= <0x0064>;
		rom_awb_end_addr	= <0x006B>;
		rom_shading_start_addr	= <0x006E>;
		rom_shading_end_addr	= <0x0166>;
		rom_awb_sec2lsi_start_addr	= <0x0064>;
		rom_awb_sec2lsi_end_addr	= <0x006B>;
		rom_awb_sec2lsi_checksum_addr	= <0x0070>;
		rom_awb_sec2lsi_checksum_len	= <0x000C>;
		rom_shading_sec2lsi_start_addr	= <0x0074>;
		rom_shading_sec2lsi_end_addr	= <0x1A5B>;
		rom_shading_sec2lsi_checksum_addr	= <0x1A60>;
		rom_shading_sec2lsi_checksum_len	= <0x19EC>;
	};

};

&hsi2c_23 {
	#address-cells = <1>;
	#size-cells = <0>;
	gpios = <&gpm6 0 0 &gpm7 0 0>;
	status = "okay";
	clock-frequency = <1000000>;
	samsung,reset-before-trans;
	samsung,fast-plus-mode;

	pinctrl-names = "default","on_i2c","off_i2c";
	pinctrl-0 = <&hsi2c23_bus_in>;
	pinctrl-1 = <&hsi2c23_bus>;
	pinctrl-2 = <&hsi2c23_bus_in>;

	is-jn1@5A {
		compatible = "samsung,exynos-is-cis-jn1";
		sensor-module = <&is_sensor_jn1>;
		reg = <0x56>; /* 1 bit right shift */
		id = <0>; /* matching is_sensor id */
		setfile = "setA";
		rev_reg = <0x0002 1>;
		sensor_f_number = <180>;	/* f number 1.8 */
		//vendor_use_adaptive_mipi;
	};

	is-actuator@18 {
		compatible = "samsung,exynos-is-actuator-gt9778";
		sensor-module = <&is_sensor_jn1>;
		reg = <0x0C>;
		id = <0>; /* matching is_sensor id */
		place = <0>;
		status = "okay";
	};

	rear_eeprom@A0 { /* Rear Wide eeprom */
		compatible = "samsung,rear-eeprom-i2c";
		reg = <0x50>;

		rom_power_position = <0>;
		rom_size = <0x531A>;
		cal_map_es_version = <1>;
		camera_module_es_version = "A";
		/* skip_cal_loading; */

		/* 0 header */
		header_crc_check_list = <0x0000 0x00FB 0x00FC>;

		crc_check_list = <  0x0140 0x21EB 0X21EC
			0x2670 0x26BB 0x26BC
			0x26C0 0x2E7B 0x2E7C
			0x36E0 0x36FB 0x36FC
			0x3700 0x3AFB 0x3AFC >;
		/* Master */
		rom_header_version_start_addr = <0x6E>;
		rom_header_cal_data_start_addr = <0x00>;
		rom_header_cal_map_ver_start_addr = <0x90>;
		rom_header_project_name_start_addr = <0x98>;
		rom_header_module_id_addr = <0xAE>;
		rom_header_sensor_id_addr = <0xB8>;
		rom_awb_master_addr = <0x36E0>;
		rom_af_cal_addr = <0x267C 0x2670>; /*AF position inf 0 Near Far */

		/* Rear Crosstalk Cal data */
		rom_xtc_cal_data_start_addr = <0x0140>;
		rom_xtc_cal_data_size = <0x20AC>;
		rom_xtc_cal_data_addr_list = <0x0140 0x21EB>;
		rear_remosaic_tetra_xtc_start_addr	= <0x14AC>;
		rear_remosaic_tetra_xtc_size		= <0x0A34>;
		rear_remosaic_sensor_xtc_start_addr	= <0x1EE0>;
		rear_remosaic_sensor_xtc_size		= <0x0300>;
		rear_remosaic_pdxtc_start_addr		= <0x0140>;
		rear_remosaic_pdxtc_size			= <0x0FA0>;
		rear_remosaic_sw_ggc_start_addr		= <0x10E0>;
		rear_remosaic_sw_ggc_size			= <0x0272>;

		use_standard_cal;
		rom_standard_cal_start_addr = <0x0100>;
		rom_standard_cal_end_addr = <0x3AFF>;
		rom_standard_cal_sec2lsi_end_addr = <0x50DF>;
		rom_awb_start_addr = <0x36E0>;
		rom_awb_end_addr = <0x36E7>;
		rom_shading_start_addr = <0x3700>;
		rom_shading_end_addr = <0x3AF8>;
		rom_factory_start_addr = <0x3B00>;
		rom_factory_end_addr = <0x3D39>;

		rom_awb_sec2lsi_start_addr = <0x36E0>;
		rom_awb_sec2lsi_end_addr = <0x36E7>;
		rom_awb_sec2lsi_checksum_addr = <0x36EC>;
		rom_awb_sec2lsi_checksum_len = <0xC>;
		rom_shading_sec2lsi_start_addr = <0x36F0>;
		rom_shading_sec2lsi_end_addr = <0x50D7>;
		rom_shading_sec2lsi_checksum_addr = <0x50DC>;
		rom_shading_sec2lsi_checksum_len = <0x19EC>;
		rom_factory_sec2lsi_start_addr = <0x50E0>;
	};
};

&hsi2c_28 {
	#address-cells = <1>;
	#size-cells = <0>;
	gpios = <&gpm17 0 0 &gpm18 0 0>;
	status = "okay";
	clock-frequency = <400000>;
	samsung,reset-before-trans;

	pinctrl-names = "default","on_i2c","off_i2c";
	pinctrl-0 = <&hsi2c28_bus_in>;
	pinctrl-1 = <&hsi2c28_bus>;
	pinctrl-2 = <&hsi2c28_bus_in>;

	is-sc201@60 { /* Bokeh */
		compatible = "samsung,exynos-is-cis-sc201";
		sensor-module = <&is_sensor_sc201>;
		reg = <0x30>; /* 1 bit right shift */
		id = <2>; /* matching is_sensor id */
		setfile = "setB";
		sensor_f_number = <220>;	/* f number 2.2 */
	};

	is-gc02m1@6E {
		compatible = "samsung,exynos-is-cis-gc02m1";
		sensor-module = <&is_sensor_gc02m1>;
		reg = <0x37>;
		id = <2>; /* matching sensor id */
		sensor_f_number = <240>; /* f number 2.4 */
		setfile = "setB";
	};
};

&hsi2c_29 {
	#address-cells = <1>;
	#size-cells = <0>;
	gpios = <&gpm19 0 0 &gpm20 0 0>;
	status = "okay";
	clock-frequency = <400000>;
	samsung,reset-before-trans;

	pinctrl-names = "default","on_i2c","off_i2c";
	pinctrl-0 = <&hsi2c29_bus_in>;
	pinctrl-1 = <&hsi2c29_bus>;
	pinctrl-2 = <&hsi2c29_bus_in>;

	is-gc02m2-macro@20 { /* Macro */
		compatible = "samsung,exynos-is-cis-gc02m2-macro";
		sensor-module = <&is_sensor_gc02m2_macro>;
		reg = <0x10>; /* 1 bit right shift */
		id = <3>; /* matching is_sensor id */
		setfile = "setB";
		sensor_f_number = <220>;	/* f number 2.2 */
	};

	is-sc201-macro@64 {
		compatible = "samsung,exynos-is-cis-sc201-macro";
		sensor-module = <&is_sensor_sc201_macro>;
		reg = <0x32>;
		id = <3>; /* matching sensor id */
		setfile = "setB";
		sensor_f_number = <240>; /* f number 2.4 */
	};

	rear4_eeprom@A4 { /* Macro eeprom */
		compatible = "samsung,rear4-eeprom-i2c";
		reg = <0x52>;

		rom_power_position = <6>;
		rom_size = <0x1DC0>;
		cal_map_es_version = <1>;
		camera_module_es_version = "A";
		/* skip_cal_loading; */

		/* 0 header */
		header_crc_check_list = <0x0000 0x00FB 0x00FC>;
		/* 0 module */
		crc_check_list = <  0x0100 0x019B 0X019C
			0x01A0 0x01AB 0x01AC
			0x01B0 0x05AB 0x05AC >;
		/* Master */
		rom_header_version_start_addr = <0x5E>;
		rom_header_cal_data_start_addr = <0x00>;
		rom_header_cal_map_ver_start_addr = <0x90>;
		rom_header_project_name_start_addr = <0x98>;
		rom_header_module_id_addr = <0xAE>;
		rom_header_sensor_id_addr = <0xB8>;
		rom_awb_master_addr = <0x01A0>;

		/* standard cal */
		use_standard_cal;
		rom_standard_cal_start_addr = <0x0100>;
		rom_standard_cal_end_addr = <0x05AF>;
		rom_standard_cal_sec2lsi_end_addr = <0x1B9F>;
		rom_awb_start_addr = <0x01A0>;
		rom_awb_end_addr = <0x01A7>;
		rom_shading_start_addr = <0x01B0>;
		rom_shading_end_addr = <0x05A8>;
		rom_factory_start_addr = <0x05B0>;
		rom_factory_end_addr = <0x07CF>;

		rom_awb_sec2lsi_start_addr = <0x01A0>;
		rom_awb_sec2lsi_end_addr = <0x01A7>;
		rom_awb_sec2lsi_checksum_addr = <0x01AC>;
		rom_awb_sec2lsi_checksum_len = <0xC>;
		rom_shading_sec2lsi_start_addr = <0x01B0>;
		rom_shading_sec2lsi_end_addr = <0x1B97>;
		rom_shading_sec2lsi_checksum_addr = <0x1B9C>;
		rom_shading_sec2lsi_checksum_len = <0x19EC>;
		rom_factory_sec2lsi_start_addr = <0x1BA0>;
	};
};

/* FLASH-LED: LEDS-SM5714 */
&hsi2c_9 {
	sm5714-fled@49 {
		compatible = "siliconmitus,sm5714-fled";
		status = "okay";
		reg = <0x49>;
		flash-gpio = <&gpc13 0 0x01>;
		torch-gpio = <&gpc12 0 0x01>;
		flash-brightness = <0x9>; /* 0x0(300mA), 0x1(700mA), 0x2(800mA), 0x3(900mA) ~ 0xF(1500mA) : 50mA Step */
		preflash-brightness = <0x6>;
		torch-brightness = <0x6>; /* 0x0(50mA) ~ 0x7(225mA) : 25mA Step */
		torch-brightness-levels = <0 1 2 3 4>;
		timeout = <0xff>;
	};
};

&exynos_is {
	
	vender {
		use_module_check;
		use_ois;
		check_sensor_vendor;
		ois_sensor_index = <0>;
		aperture_sensor_index = <0>;
		mcu_sensor_index = <0>;
		skip_cal_loading;
		
		is_vendor_sensor_count = <4>;
		max_supported_camera = <4>;
		supported_cameraId = <0 1 52 60>;
		ois_gyro_list = <0x00 0x00 0x01 0x01 0x01>;
		/*
		* Wide(0)
		* Front(1)
		* U Wide(2)
		* Front 80(3) - not available for factory
		* Front Secure(5) - not available for factory
		* DUAL_REAR_PORTRAIT_WIDE(23)
		* Bokeh(52)
		* Rear_UW(58)
		* Macro(60)
		*/

		/* sysfs camera id */
		max_camera_num = <5>;
		sensor_id { /* sensor position = <sensor_id> */
			0 = <72>;	/* JN1 */
			1 = <59 211>;	/* 3l6 HI1336 */
			2 = <220 214>;	/* SC201 GC02M1 */
			6 = <222 220>;	/* GC02M2 SC201 */
		};

		camera_info0 {			/* 0 : sysfs rear */
			internal_id = <0>;	/* 0 : wide */
			isp = <0>;		/* 0 : INT, 1 : EXT, 2 : SOC */
			cal_memory = <2>;	/* 0 : N, 1 : FROM, 2 : EEPROM, 3 : OTP */
			read_version = <0>;	/* 0 : SYSFS, 1 : CAMON */
			core_voltage = <0>;	/* 0 : N, 1 : Y */
			upgrade = <0>;		/* 0 : N, 1 : SYSFS , 2 : CAMON */
			fw_write = <0>;		/* 0 : N, 1 : OS, 2 : SD, 3 : ALL */
			fw_dump = <0>;		/* 0 : N, 1 : Y */
			companion = <0>;	/* 0 : N, 1 : Y */
			ois = <0>;		/* 0 : N, 1 : Y */
			valid = <1>;		/* 0 : INVALID, 1 : VALID */
		};
		camera_info1 {			/* 1 : sysfs front */
			internal_id = <1>;	/* 1 : front master */
			isp = <0>;		/* 0 : INT, 1 : EXT, 2 : SOC */
			cal_memory = <3>;	/* 0 : N, 1 : FROM, 2 : EEPROM, 3 : OTP */
			read_version = <0>;	/* 0 : SYSFS, 1 : CAMON */
			core_voltage = <0>;	/* 0 : N, 1 : Y */
			upgrade = <0>;		/* 0 : N, 1 : SYSFS, 2 : CAMON */
			fw_write = <0>;		/* 0 : N, 1 : OS, 2 : SD, 3 : ALL */
			fw_dump = <0>;		/* 0 : N, 1 : Y */
			companion = <0>;	/* 0 : N, 1 : Y */
			ois = <0>;		/* 0 : N, 1 : Y */
			valid = <1>;		/* 0 : INVALID, 1 : VALID */
		};
		camera_info2 {			/* 2 : sysfs rear2 */
			internal_id = <2>;	/* 2 : bokeh */
			isp = <0>;		/* 0 : INT, 1 : EXT, 2 : SOC */
			cal_memory = <0>;	/* 0 : N, 1 : FROM, 2 : EEPROM, 3 : OTP */
			read_version = <0>;	/* 0 : SYSFS, 1 : CAMON */
			core_voltage = <0>;	/* 0 : N, 1 : Y */
			upgrade = <0>;		/* 0 : N, 1 : SYSFS, 2 : CAMON */
			fw_write = <0>;		/* 0 : N, 1 : OS, 2 : SD, 3 : ALL */
			fw_dump = <0>;		/* 0 : N, 1 : Y */
			companion = <0>;	/* 0 : N, 1 : Y */
			ois = <0>;		/* 0 : N, 1 : Y */
			valid = <1>;		/* 0 : INVALID, 1 : VALID */
		};
		camera_info3 {			/* 3 : sysfs front2 */
			valid = <0>;		/* 0 : INVALID, 1 : VALID */
		};
		camera_info4 {			/* 4 : sysfs rear3 */
			internal_id = <6>;	/* 4 : macro */
			isp = <0>;		/* 0 : INT, 1 : EXT, 2 : SOC */
			cal_memory = <2>;	/* 0 : N, 1 : FROM, 2 : EEPROM, 3 : OTP */
			read_version = <0>;	/* 0 : SYSFS, 1 : CAMON */
			core_voltage = <0>;	/* 0 : N, 1 : Y */
			upgrade = <0>;		/* 0 : N, 1 : SYSFS, 2 : CAMON */
			fw_write = <0>;		/* 0 : N, 1 : OS, 2 : SD, 3 : ALL */
			fw_dump = <0>;		/* 0 : N, 1 : Y */
			companion = <0>;	/* 0 : N, 1 : Y */
			ois = <0>;		/* 0 : N, 1 : Y */
			valid = <1>;		/* 0 : INVALID, 1 : VALID   */
		};
	};

	lic_offsets {
		/* 3AA = <setA lic offset0, setA lic offset1, set A trigger context */
		/*		setB lic offset0, setB lic offset1, set B trigger context> */
		/* 4672: 4640x4352 */
		/* 5824: 5804x4352 */
		3AA = <5461 10922 0 5461 10922 0>;
	};

	buffer_info {
		ypp_buf_max_width = <4608>;	/* defalut value : 5760 */
	};

	is_dvfs {
		#define CPU_CL0	"0-5"
		#define CPU_CL1	"6-7"
		#define CPU_ALL	"0-7"

		table0 {
			desc = "dvfs table v0.2";

			default_csis = <1>;
			default_cam = <1>;
			default_isp = <1>;
			default_m2m = <1>;
			default_mif = <3>;
			default_int = <1>;
			default_cpu = CPU_CL0;

			rear_single_photo_isp = <6>;
			rear_single_photo_mif = <7>;
			rear_single_photo_int = <5>;
			rear_single_photo_cpu = CPU_CL0;

			rear_single_photo_full_mif = <3>;
			rear_single_photo_full_int = <4>;
			rear_single_photo_full_cpu = CPU_CL0;

			rear_single_video_hd30_isp = <6>;
			rear_single_video_hd30_mif = <6>;
			rear_single_video_hd30_int = <5>;
			rear_single_video_hd30_cpu = CPU_CL0;

			rear_single_video_fhd30_isp = <6>;
			rear_single_video_fhd30_mif = <6>;
			rear_single_video_fhd30_int = <5>;
			rear_single_video_fhd30_cpu = CPU_CL0;

			rear_single_video_fhd60_isp = <0>;
			rear_single_video_fhd60_mif = <3>;
			rear_single_video_fhd60_int = <0>;
			rear_single_video_fhd60_cpu = CPU_CL0;

			rear_single_video_uhd30_isp = <0>;
			rear_single_video_uhd30_mif = <3>;
			rear_single_video_uhd30_int = <0>;
			rear_single_video_uhd30_cpu = CPU_CL0;

			rear_single_capture_cam = <1>;
			rear_single_capture_isp = <3>;
			rear_single_capture_mif = <1>;
			rear_single_capture_int = <2>;
			rear_single_capture_cpu = CPU_CL0;

			rear_single_video_fhd120_isp = <0>;
			rear_single_video_fhd120_m2m = <0>;
			rear_single_video_fhd120_mif = <3>;
			rear_single_video_fhd120_int = <0>;
			rear_single_video_fhd120_cpu = CPU_CL0;

			rear_single_video_hd240_isp = <6>;
			rear_single_video_hd240_m2m = <5>;
			rear_single_video_hd240_mif = <3>;
			rear_single_video_hd240_int = <3>;
			rear_single_video_hd240_cpu = CPU_CL0;

			rear_single_ssm_isp = <6>;
			rear_single_ssm_m2m = <5>;
			rear_single_ssm_mif = <3>;
			rear_single_ssm_int = <3>;
			rear_single_ssm_hpg = <6>;
			rear_single_ssm_cpu = CPU_CL0;

			rear_single_vt_isp = <6>;
			rear_single_vt_mif = <7>;
			rear_single_vt_int = <5>;
			rear_single_vt_cpu = CPU_CL0;

			rear_single_video_fhd30_supersteady_isp = <0>;
			rear_single_video_fhd30_supersteady_mif = <3>;
			rear_single_video_fhd30_supersteady_int = <0>;
			rear_single_video_fhd30_supersteady_cpu = CPU_CL0;

			rear_single_remosaic_photo_isp = <0>;
			rear_single_remosaic_photo_mif = <3>;
			rear_single_remosaic_photo_int = <0>;
			rear_single_remosaic_photo_cpu = CPU_CL0;

			rear_single_remosaic_capture_cam = <0>;
			rear_single_remosaic_capture_isp = <1>;
			rear_single_remosaic_capture_mif = <3>;
			rear_single_remosaic_capture_int = <4>;
			rear_single_remosaic_capture_cpu = CPU_CL0;

			rear_dual_wide_tele_photo_isp = <6>;
			rear_dual_wide_tele_photo_mif = <6>;
			rear_dual_wide_tele_photo_int = <5>;
			rear_dual_wide_tele_photo_cpu = CPU_CL0;

			rear_dual_wide_tele_video_fhd30_isp = <0>;
			rear_dual_wide_tele_video_fhd30_mif = <3>;
			rear_dual_wide_tele_video_fhd30_int = <0>;
			rear_dual_wide_tele_video_fhd30_cpu = CPU_CL0;

			rear_dual_wide_tele_video_uhd30_isp = <0>;
			rear_dual_wide_tele_video_uhd30_mif = <3>;
			rear_dual_wide_tele_video_uhd30_int = <0>;
			rear_dual_wide_tele_video_uhd30_cpu = CPU_CL0;

			rear_dual_wide_tele_video_fhd60_isp = <0>;
			rear_dual_wide_tele_video_fhd60_mif = <3>;
			rear_dual_wide_tele_video_fhd60_int = <0>;
			rear_dual_wide_tele_video_fhd60_cpu = CPU_CL0;

			rear_dual_wide_tele_capture_cam = <2>;
			rear_dual_wide_tele_capture_isp = <5>;
			rear_dual_wide_tele_capture_mif = <6>;
			rear_dual_wide_tele_capture_int = <5>;
			rear_dual_wide_tele_capture_cpu = CPU_CL0;

			rear_dual_wide_ultrawide_photo_isp = <0>;
			rear_dual_wide_ultrawide_photo_mif = <3>;
			rear_dual_wide_ultrawide_photo_int = <0>;
			rear_dual_wide_ultrawide_photo_cpu = CPU_CL0;

			rear_dual_wide_ultrawide_video_fhd30_isp = <0>;
			rear_dual_wide_ultrawide_video_fhd30_mif = <3>;
			rear_dual_wide_ultrawide_video_fhd30_int = <0>;
			rear_dual_wide_ultrawide_video_fhd30_cpu = CPU_CL0;

			rear_dual_wide_ultrawide_video_uhd30_isp = <0>;
			rear_dual_wide_ultrawide_video_uhd30_mif = <3>;
			rear_dual_wide_ultrawide_video_uhd30_int = <0>;
			rear_dual_wide_ultrawide_video_uhd30_cpu = CPU_CL0;

			rear_dual_wide_ultrawide_video_fhd60_isp = <0>;
			rear_dual_wide_ultrawide_video_fhd60_mif = <3>;
			rear_dual_wide_ultrawide_video_fhd60_int = <0>;
			rear_dual_wide_ultrawide_video_fhd60_cpu = CPU_CL0;

			rear_dual_wide_ultrawide_capture_cam = <0>;
			rear_dual_wide_ultrawide_capture_isp = <0>;
			rear_dual_wide_ultrawide_capture_mif = <3>;
			rear_dual_wide_ultrawide_capture_int = <0>;
			rear_dual_wide_ultrawide_capture_cpu = CPU_CL0;

			front_single_photo_isp = <6>;
			front_single_photo_mif = <6>;
			front_single_photo_int = <5>;
			front_single_photo_cpu = CPU_CL0;

			front_single_photo_full_mif = <3>;
			front_single_photo_full_int = <3>;
			front_single_photo_full_cpu = CPU_CL0;

			front_single_video_hd30_isp = <6>;
			front_single_video_hd30_mif = <6>;
			front_single_video_hd30_int = <5>;
			front_single_video_hd30_cpu = CPU_CL0;

			front_single_video_fhd30_isp = <6>;
			front_single_video_fhd30_mif = <6>;
			front_single_video_fhd30_int = <5>;
			front_single_video_fhd30_cpu = CPU_CL0;

			front_single_video_uhd30_isp = <0>;
			front_single_video_uhd30_mif = <3>;
			front_single_video_uhd30_int = <0>;
			front_single_video_uhd30_cpu = CPU_CL0;

			front_single_video_fhd60_isp = <0>;
			front_single_video_fhd60_mif = <3>;
			front_single_video_fhd60_int = <0>;
			front_single_video_fhd60_cpu = CPU_CL0;

			front_single_capture_cam = <1>;
			front_single_capture_isp = <4>;
			front_single_capture_mif = <3>;
			front_single_capture_int = <3>;
			front_single_capture_cpu = CPU_CL0;

			front_single_vt_isp = <6>;
			front_single_vt_mif = <7>;
			front_single_vt_int = <5>;
			front_single_vt_cpu = CPU_CL0;

			front_single_video_fhd120_isp = <0>;
			front_single_video_fhd120_mif = <0>;
			front_single_video_fhd120_int = <3>;
			front_single_video_fhd120_hpg = <0>;
			front_single_video_fhd120_cpu = CPU_CL0;

			rear_single_wide_fastae_cam = <6>;
			rear_single_wide_fastae_isp = <6>;
			rear_single_wide_fastae_m2m = <5>;
			rear_single_wide_fastae_mif = <7>;
			rear_single_wide_fastae_int = <5>;
			rear_single_wide_fastae_cpu = CPU_CL0;

			front_single_fastae_cam = <6>;
			front_single_fastae_isp = <6>;
			front_single_fastae_m2m = <5>;
			front_single_fastae_mif = <8>;
			front_single_fastae_int = <5>;
			front_single_fastae_cpu = CPU_CL0;

			pip_dual_photo_isp = <6>;
			pip_dual_photo_mif = <4>;
			pip_dual_photo_int = <5>;
			pip_dual_photo_cpu = CPU_CL0;

			pip_dual_capture_cam = <0>;
			pip_dual_capture_isp = <1>;
			pip_dual_capture_mif = <3>;
			pip_dual_capture_int = <5>;
			pip_dual_capture_cpu = CPU_CL0;

			pip_dual_video_fhd30_isp = <1>;
			pip_dual_video_fhd30_mif = <3>;
			pip_dual_video_fhd30_int = <4>;
			pip_dual_video_fhd30_cpu = CPU_CL0;

			sensor_only_rear_single_cam = <1>;
			sensor_only_rear_single_csis = <1>;
			sensor_only_rear_single_isp = <1>;
			sensor_only_rear_single_m2m = <1>;
			sensor_only_rear_single_mif = <3>;
			sensor_only_rear_single_int = <1>;
			sensor_only_rear_single_cpu = CPU_CL0;

			sensor_only_front_cam = <1>;
			sensor_only_front_csis = <1>;
			sensor_only_front_isp = <1>;
			sensor_only_front_m2m = <1>;
			sensor_only_front_mif = <3>;
			sensor_only_front_int = <1>;
			sensor_only_front_cpu = CPU_CL0;

			throttling_cam = <0>;
			throttling_csis = <0>;
			throttling_isp = <0>;
			throttling_m2m = <0>;
			throttling_mif = <3>;
			throttling_int = <0>;
			throttling_hpg = <0>;
			throttling_cpu = CPU_CL0;

			max_cam = <1>;
			max_csis = <1>;
			max_isp = <1>;
			max_m2m = <1>;
			max_mif = <3>;
			max_int = <1>;
			max_cpu = CPU_CL0;
		};
	};
};

